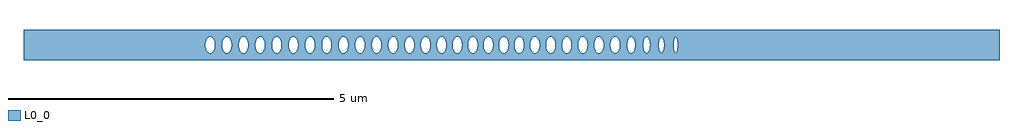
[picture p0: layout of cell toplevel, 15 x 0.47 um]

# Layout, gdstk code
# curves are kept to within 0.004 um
import gdstk
lib = gdstk.Library(unit=1e-6, precision=1e-09)
def P(c, l, *ps):  # polygons
    for p in ps: c.add(gdstk.Polygon(p, *l))
L0_0 = (0, 0)

toplevel = lib.new_cell('toplevel')
P(toplevel, L0_0, [(-4.189,0.032),(-4.169,0.093),(-4.154,0.112),(-4.133,0.125),(-4.133,0.234),(-7.5,0.234),(-7.5,-0.016),(-4.703,-0.016),(-4.701,0.032),(-4.69,0.075),(-4.666,0.112),(-4.631,0.128),(-4.604,0.119),(-4.581,0.093),(-4.562,0.039),(-4.559,0),(-4.448,0),(-4.441,0.054),(-4.425,0.093),(-4.402,0.119),(-4.375,0.128),(-4.348,0.119),(-4.329,0.098),(-4.314,0.068),(-4.303,0.016),(-4.306,-0.039),(-4.319,-0.081),(-4.348,-0.119),(-4.375,-0.128),(-4.402,-0.119),(-4.425,-0.093),(-4.441,-0.054),(-4.448,0),(-4.559,0),(-4.562,-0.039),(-4.581,-0.093),(-4.604,-0.119),(-4.631,-0.128),(-4.658,-0.119),(-4.681,-0.093),(-4.697,-0.054),(-4.703,-0.016),(-7.5,-0.016),(-7.5,-0.234),(-4.133,-0.234),(-4.133,-0.125),(-4.162,-0.103),(-4.183,-0.061),(-4.192,-0.008)],
  [(-4.133,0.234),(-4.133,0.125),(-4.101,0.123),(-4.073,0.098),(-4.05,0.039),(-4.047,-0.008),(-3.936,-0.008),(-3.931,0.047),(-3.913,0.093),(-3.89,0.119),(-3.863,0.128),(-3.837,0.119),(-3.817,0.098),(-3.802,0.068),(-3.791,0.008),(-3.796,-0.047),(-3.814,-0.093),(-3.837,-0.119),(-3.863,-0.128),(-3.89,-0.119),(-3.91,-0.098),(-3.925,-0.068),(-3.936,-0.008),(-4.047,-0.008),(-4.058,-0.068),(-4.08,-0.108),(-4.106,-0.125),(-4.133,-0.125),(-4.133,-0.234),(-3.536,-0.234),(-3.536,-0.024),(-3.546,-0.068),(-3.561,-0.098),(-3.581,-0.119),(-3.608,-0.128),(-3.634,-0.119),(-3.654,-0.098),(-3.669,-0.068),(-3.68,-0.008),(-3.678,0.032),(-3.666,0.075),(-3.646,0.108),(-3.617,0.126),(-3.585,0.121),(-3.561,0.098),(-3.546,0.068),(-3.536,0.024),(-3.536,0.234)],
  [(-2.4,0.016),(-2.396,0.047),(-2.378,0.093),(-2.355,0.119),(-2.328,0.128),(-2.289,0.108),(-2.272,0.081),(-2.259,0.039),(-2.259,0.234),(-2.858,0.234),(-2.858,0.123),(-2.826,0.125),(-2.805,0.112),(-2.79,0.093),(-2.774,0.054),(-2.768,-0.016),(-2.656,-0.016),(-2.654,0.032),(-2.643,0.075),(-2.619,0.112),(-2.584,0.128),(-2.557,0.119),(-2.534,0.093),(-2.512,0.016),(-2.514,-0.032),(-2.525,-0.075),(-2.549,-0.112),(-2.584,-0.128),(-2.611,-0.119),(-2.634,-0.093),(-2.648,-0.061),(-2.656,-0.016),(-2.768,-0.016),(-2.781,-0.075),(-2.801,-0.108),(-2.826,-0.125),(-2.858,-0.123),(-2.858,-0.234),(-2.259,-0.234),(-2.259,-0.039),(-2.272,-0.081),(-2.289,-0.108),(-2.315,-0.125),(-2.342,-0.125),(-2.367,-0.108),(-2.387,-0.075),(-2.396,-0.047)],
  [(0.836,-0.234),(0.836,-0.125),(0.815,-0.112),(0.8,-0.093),(0.782,-0.047),(0.777,-0.008),(0.782,0.047),(0.791,0.075),(0.811,0.108),(0.836,0.125),(0.836,0.234),(0.192,0.234),(0.192,0),(0.287,0),(0.292,0.047),(0.31,0.093),(0.333,0.119),(0.36,0.128),(0.386,0.119),(0.413,0.087),(0.429,0.039),(0.432,-0.008),(0.531,-0.008),(0.536,0.047),(0.554,0.093),(0.577,0.119),(0.604,0.128),(0.63,0.119),(0.65,0.098),(0.665,0.068),(0.676,0.008),(0.671,-0.047),(0.653,-0.093),(0.63,-0.119),(0.604,-0.128),(0.577,-0.119),(0.557,-0.098),(0.542,-0.068),(0.531,-0.008),(0.432,-0.008),(0.429,-0.039),(0.413,-0.087),(0.386,-0.119),(0.36,-0.128),(0.333,-0.119),(0.31,-0.093),(0.292,-0.047),(0.287,0),(0.192,0),(0.192,-0.234)],
  [(-3.536,-0.234),(-3.149,-0.234),(-3.149,-0.087),(-3.168,-0.016),(-3.165,0.039),(-3.149,0.087),(-3.149,0.234),(-3.536,0.234),(-3.535,-0.008),(-3.424,-0.008),(-3.421,0.039),(-3.401,0.093),(-3.378,0.119),(-3.352,0.128),(-3.325,0.119),(-3.302,0.093),(-3.284,0.047),(-3.279,0.008),(-3.284,-0.047),(-3.302,-0.093),(-3.325,-0.119),(-3.352,-0.128),(-3.378,-0.119),(-3.398,-0.098),(-3.413,-0.068),(-3.424,-0.008),(-3.535,-0.008)],
  [(-3.142,0.098),(-3.109,0.125),(-3.096,0.128),(-3.069,0.119),(-3.037,0.075),(-3.023,0),(-3.037,-0.075),(-3.069,-0.119),(-3.096,-0.128),(-3.109,-0.125),(-3.131,-0.112),(-3.149,-0.087),(-3.149,-0.234),(-2.858,-0.234),(-2.858,-0.123),(-2.879,-0.108),(-2.893,-0.087),(-2.912,-0.016),(-2.91,0.032),(-2.899,0.075),(-2.879,0.108),(-2.858,0.123),(-2.858,0.234),(-3.149,0.234),(-3.149,0.087)],
  [(-1.889,0.032),(-1.877,0.075),(-1.877,0.234),(-2.259,0.234),(-2.256,-0.016),(-2.145,-0.016),(-2.142,0.039),(-2.129,0.081),(-2.108,0.112),(-2.073,0.128),(-2.046,0.119),(-2.023,0.093),(-2.005,0.047),(-2,0.008),(-2.005,-0.047),(-2.023,-0.093),(-2.046,-0.119),(-2.073,-0.128),(-2.099,-0.119),(-2.119,-0.098),(-2.134,-0.068),(-2.145,-0.016),(-2.256,-0.016),(-2.259,-0.234),(-1.877,-0.234),(-1.877,-0.075),(-1.891,-0.016)],
  [(-1.865,0.098),(-1.845,0.119),(-1.819,0.128),(-1.784,0.112),(-1.755,0.061),(-1.746,-0.008),(-1.76,-0.075),(-1.792,-0.119),(-1.819,-0.128),(-1.845,-0.119),(-1.858,-0.108),(-1.877,-0.075),(-1.877,-0.234),(-1.581,-0.234),(-1.581,-0.125),(-1.602,-0.112),(-1.617,-0.093),(-1.635,-0.047),(-1.64,-0.008),(-1.635,0.047),(-1.626,0.075),(-1.606,0.108),(-1.581,0.125),(-1.581,0.234),(-1.877,0.234),(-1.877,0.075)],
  [(-1.498,-0.039),(-1.511,-0.081),(-1.528,-0.108),(-1.554,-0.125),(-1.581,-0.125),(-1.581,-0.234),(-1.276,-0.234),(-1.276,-0.103),(-1.305,-0.125),(-1.319,-0.128),(-1.346,-0.119),(-1.378,-0.075),(-1.391,-0.016),(-1.386,0.047),(-1.378,0.075),(-1.358,0.108),(-1.346,0.119),(-1.319,0.128),(-1.292,0.119),(-1.276,0.103),(-1.276,0.234),(-1.581,0.234),(-1.581,0.125),(-1.567,0.128),(-1.541,0.119),(-1.514,0.087),(-1.497,0.032)],
  [(-1.005,-0.039),(-1.018,-0.081),(-1.035,-0.108),(-1.061,-0.125),(-1.088,-0.125),(-1.113,-0.108),(-1.133,-0.075),(-1.147,0),(-1.133,0.075),(-1.113,0.108),(-1.088,0.125),(-1.061,0.125),(-1.035,0.108),(-1.018,0.081),(-1.005,0.039),(-1.005,0.234),(-1.276,0.234),(-1.276,0.103),(-1.26,0.075),(-1.247,0.016),(-1.253,-0.054),(-1.276,-0.103),(-1.276,-0.234),(-1.005,-0.234)],
  [(-0.665,0.016),(-0.652,0.075),(-0.652,0.234),(-1.005,0.234),(-1.002,-0.008),(-0.905,-0.008),(-0.9,0.047),(-0.882,0.093),(-0.859,0.119),(-0.833,0.128),(-0.806,0.119),(-0.786,0.098),(-0.771,0.068),(-0.76,0.008),(-0.765,-0.047),(-0.783,-0.093),(-0.806,-0.119),(-0.833,-0.128),(-0.859,-0.119),(-0.879,-0.098),(-0.894,-0.068),(-0.905,-0.008),(-1.002,-0.008),(-1.005,-0.234),(-0.652,-0.234),(-0.652,-0.075),(-0.664,-0.032)],
  [(-0.64,0.098),(-0.62,0.119),(-0.593,0.128),(-0.559,0.112),(-0.532,0.068),(-0.521,-0.008),(-0.532,-0.068),(-0.547,-0.098),(-0.567,-0.119),(-0.593,-0.128),(-0.62,-0.119),(-0.652,-0.075),(-0.652,-0.234),(-0.36,-0.234),(-0.36,-0.127),(-0.391,-0.112),(-0.409,-0.087),(-0.428,-0.016),(-0.425,0.039),(-0.412,0.081),(-0.391,0.112),(-0.36,0.127),(-0.36,0.234),(-0.652,0.234),(-0.652,0.075)],
  [(-0.286,-0.032),(-0.297,-0.075),(-0.313,-0.103),(-0.329,-0.119),(-0.36,-0.127),(-0.36,-0.234),(-0.088,-0.234),(-0.088,-0.115),(-0.119,-0.128),(-0.145,-0.119),(-0.157,-0.108),(-0.18,-0.068),(-0.191,-0.008),(-0.18,0.068),(-0.157,0.108),(-0.145,0.119),(-0.119,0.128),(-0.088,0.115),(-0.088,0.234),(-0.36,0.234),(-0.36,0.127),(-0.329,0.119),(-0.297,0.075),(-0.284,0.016)],
  [(0.192,-0.008),(0.183,-0.061),(0.166,-0.098),(0.146,-0.119),(0.119,-0.128),(0.093,-0.119),(0.073,-0.098),(0.058,-0.068),(0.047,-0.008),(0.052,0.047),(0.07,0.093),(0.093,0.119),(0.119,0.128),(0.146,0.119),(0.166,0.098),(0.183,0.061),(0.192,0.008),(0.192,0.234),(-0.088,0.234),(-0.088,0.115),(-0.057,0.068),(-0.046,0.008),(-0.057,-0.068),(-0.088,-0.115),(-0.088,-0.234),(0.192,-0.234)],
  [(0.921,-0.024),(0.911,-0.068),(0.885,-0.112),(0.863,-0.125),(0.836,-0.125),(0.836,-0.234),(1.135,-0.234),(1.135,-0.108),(1.123,-0.119),(1.097,-0.128),(1.062,-0.112),(1.035,-0.068),(1.024,-0.008),(1.035,0.068),(1.058,0.108),(1.07,0.119),(1.097,0.128),(1.123,0.119),(1.135,0.108),(1.135,0.234),(0.836,0.234),(0.836,0.125),(0.85,0.128),(0.876,0.119),(0.899,0.093),(0.919,0.039)],
  [(1.168,-0.024),(1.158,-0.068),(1.135,-0.108),(1.135,-0.234),(1.521,-0.234),(1.521,0.234),(1.135,0.234),(1.135,0.108),(1.158,0.068),(1.169,-0.008),(1.271,-0.008),(1.276,0.047),(1.294,0.093),(1.317,0.119),(1.343,0.128),(1.37,0.119),(1.39,0.098),(1.414,0.032),(1.415,-0.024),(1.405,-0.068),(1.382,-0.108),(1.353,-0.126),(1.325,-0.123),(1.297,-0.098),(1.282,-0.068),(1.271,-0.008),(1.169,-0.008)],
  [(1.79,0.234),(1.521,0.234),(1.521,0.016),(1.527,0.054),(1.543,0.093),(1.566,0.119),(1.593,0.128),(1.62,0.119),(1.639,0.098),(1.654,0.068),(1.665,0.016),(1.662,-0.039),(1.649,-0.081),(1.628,-0.112),(1.602,-0.126),(1.579,-0.125),(1.55,-0.103),(1.529,-0.061),(1.521,-0.016),(1.521,-0.234),(1.79,-0.234),(1.79,-0.074),(1.778,-0.016),(1.781,0.039),(1.79,0.073)],
  [(1.792,0.08),(1.81,0.11),(1.825,0.122),(1.848,0.125),(1.867,0.114),(1.895,0.061),(1.902,-0.016),(1.895,-0.061),(1.883,-0.092),(1.856,-0.122),(1.832,-0.125),(1.817,-0.117),(1.79,-0.075),(1.79,-0.234),(2.067,-0.234),(2.067,-0.122),(2.039,-0.085),(2.025,-0.016),(2.031,0.06),(2.049,0.104),(2.067,0.122),(2.067,0.234),(1.79,0.234)],
  [(2.128,-0.023),(2.123,-0.06),(2.108,-0.1),(2.087,-0.122),(2.067,-0.122),(2.067,-0.234),(2.336,-0.234),(2.336,-0.078),(2.317,-0.116),(2.306,-0.122),(2.293,-0.118),(2.271,-0.078),(2.262,-0.015),(2.268,0.065),(2.288,0.113),(2.301,0.122),(2.312,0.12),(2.336,0.078),(2.336,0.234),(2.067,0.234),(2.067,0.122),(2.093,0.118),(2.113,0.09),(2.127,0.038)],
  [(2.344,-0.03),(2.336,-0.078),(2.336,-0.234),(7.5,-0.234),(7.5,0.234),(2.336,0.234),(2.336,0.078),(2.345,-0.015),(2.492,-0.015),(2.499,0.076),(2.51,0.109),(2.522,0.12),(2.53,0.118),(2.541,0.101),(2.555,0.022),(2.547,-0.082),(2.537,-0.109),(2.526,-0.12),(2.512,-0.112),(2.505,-0.097),(2.492,-0.015),(2.345,-0.015)])

lib.write_gds('toplevel.gds')
